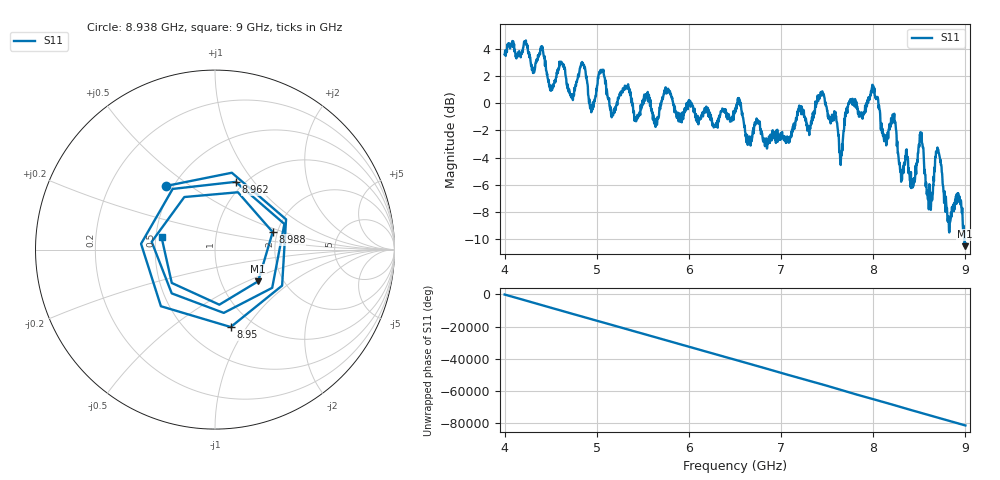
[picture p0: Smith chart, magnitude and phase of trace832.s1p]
! Created with skrf 1.8.0 (http://scikit-rf.org).
# Hz S RI R 50.0
!freq ReS11 ImS11
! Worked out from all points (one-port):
!   1601 points, 4 GHz to 9 GHz, reference 50 ohm
!   lowest |S11| = -10.5 dB at 8.991 GHz (marker M1), VSWR 1.85, Z = 74.9 - j29 ohm
!   |S11| at or under -10 dB: 8.989527 GHz to end of sweep
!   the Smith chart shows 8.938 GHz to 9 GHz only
!   S11 on the Smith chart (normalised r, x): 8.938 GHz: 0.46, +0.41; 8.95 GHz: 0.79, -0.85; 8.962 GHz: 0.91, +0.82; 8.988 GHz: 1.89, +0.42; 9 GHz: 0.54, +0.08
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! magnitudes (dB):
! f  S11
! 4 GHz  3.6
! 4.506 GHz  1.0
! 4.625 GHz  2.9
! 4.728 GHz  0.6
! 4.853 GHz  2.8
! 4.941 GHz  -0.7
! 5.047 GHz  2.4
! 5.162 GHz  -1.0
! 5.25 GHz  0.7
! 5.875 GHz  -1.1
! 6.5 GHz  -0.4
! 7.125 GHz  -2.1
! 7.447 GHz  0.8
! 7.65 GHz  -4.0
! 7.75 GHz  0.3
! 8 GHz  1.3
! 8.375 GHz  -4.0
! 8.431 GHz  -5.6
! 8.519 GHz  -2.6
! 8.606 GHz  -6.9
! 8.7 GHz  -3.5
! 8.822 GHz  -9.4
! 8.938 GHz  -7.0
! 8.95 GHz  -7.1
! 8.962 GHz  -8.1
! 8.988 GHz  -9.5
! 8.991 GHz  -10.5
! 9 GHz  -10.3
